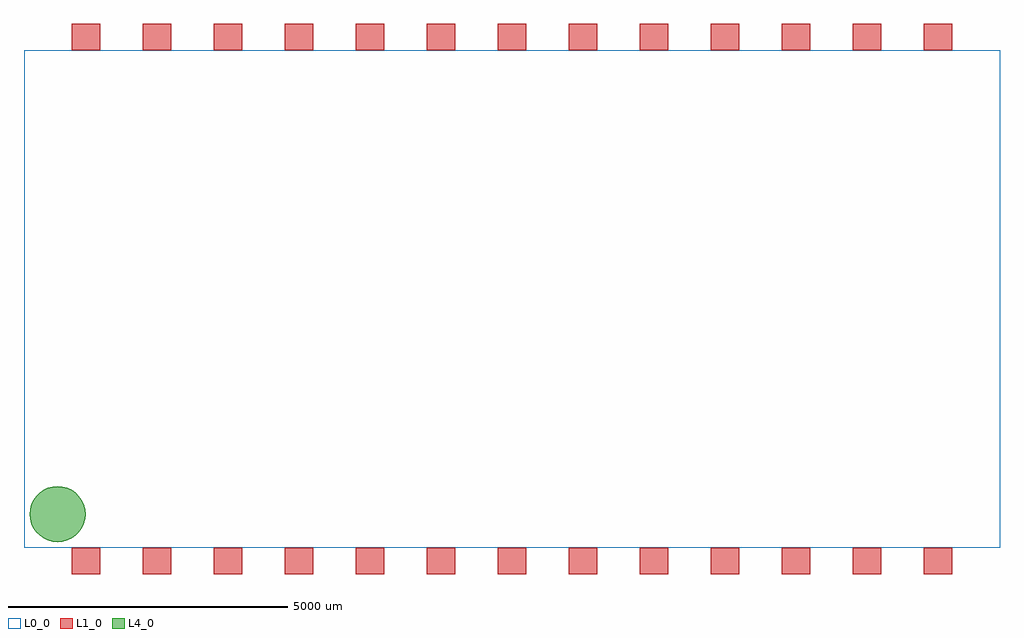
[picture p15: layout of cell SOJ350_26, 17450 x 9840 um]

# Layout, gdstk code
import gdstk
lib = gdstk.Library(unit=1e-6, precision=1e-09)
def R(c, l, rs):  # rectangles x0, y0, x1, y1
    for r in rs: c.add(gdstk.rectangle(r[:2], r[2:], *l))
def A(c, l, x, y, w, h, nx, ny, dx, dy):  # array of equal rectangles
    R(c, l, [(x+i*dx, y+j*dy, x+i*dx+w, y+j*dy+h) for i in range(nx) for j in range(ny)])
def P(c, l, *ps):  # polygons
    for p in ps: c.add(gdstk.Polygon(p, *l))
L0_0 = (0, 0)
L1_0 = (1, 0)
L4_0 = (4, 0)
L99_1 = (99, 1)
L99_2 = (99, 2)
L99_3 = (99, 3)
L99_4 = (99, 4)
L99_5 = (99, 5)
L99_6 = (99, 6)
L99_7 = (99, 7)
L99_8 = (99, 8)
L99_9 = (99, 9)
L99_10 = (99, 10)
L99_11 = (99, 11)
L99_12 = (99, 12)
L99_13 = (99, 13)
L99_14 = (99, 14)
L99_15 = (99, 15)
L99_16 = (99, 16)
L99_17 = (99, 17)
L99_18 = (99, 18)
L99_19 = (99, 19)
L99_20 = (99, 20)
L99_21 = (99, 21)
L99_22 = (99, 22)
L99_23 = (99, 23)
L99_24 = (99, 24)
L99_25 = (99, 25)
L99_26 = (99, 26)

soj350_26 = lib.new_cell('SOJ350_26')
R(soj350_26, L0_0, [(0,0,17450,8890)])
A(soj350_26, L1_0, 850, -475, 510, 475, 13, 2, 1270, 9365)
P(soj350_26, L4_0, [(1100,600),(1092.404,513.176),(1069.846,428.99),(1033.013,350),(983.022,278.606),(921.394,216.978),(850,166.987),(771.01,130.154),(686.824,107.596),(600,100),(513.176,107.596),(428.99,130.154),(350,166.987),(278.606,216.978),(216.978,278.606),(166.987,350),(130.154,428.99),(107.596,513.176),(100,600),(107.596,686.824),(130.154,771.01),(166.987,850),(216.978,921.394),(278.606,983.022),(350,1033.013),(428.99,1069.846),(513.176,1092.404),(600,1100),(686.824,1092.404),(771.01,1069.846),(850,1033.013),(921.394,983.022),(983.022,921.394),(1033.013,850),(1069.846,771.01),(1092.404,686.824)])
soj350_26.add(gdstk.FlexPath([(1360,0),(850,0)], 0, ends="round", simple_path=True, layer=99, datatype=1))  # L99_1
soj350_26.add(gdstk.FlexPath([(2630,0),(2120,0)], 0, ends="round", simple_path=True, layer=99, datatype=2))  # L99_2
soj350_26.add(gdstk.FlexPath([(3900,0),(3390,0)], 0, ends="round", simple_path=True, layer=99, datatype=3))  # L99_3
soj350_26.add(gdstk.FlexPath([(5170,0),(4660,0)], 0, ends="round", simple_path=True, layer=99, datatype=4))  # L99_4
soj350_26.add(gdstk.FlexPath([(6440,0),(5930,0)], 0, ends="round", simple_path=True, layer=99, datatype=5))  # L99_5
soj350_26.add(gdstk.FlexPath([(7710,0),(7200,0)], 0, ends="round", simple_path=True, layer=99, datatype=6))  # L99_6
soj350_26.add(gdstk.FlexPath([(8980,0),(8470,0)], 0, ends="round", simple_path=True, layer=99, datatype=7))  # L99_7
soj350_26.add(gdstk.FlexPath([(10250,0),(9740,0)], 0, ends="round", simple_path=True, layer=99, datatype=8))  # L99_8
soj350_26.add(gdstk.FlexPath([(11520,0),(11010,0)], 0, ends="round", simple_path=True, layer=99, datatype=9))  # L99_9
soj350_26.add(gdstk.FlexPath([(12790,0),(12280,0)], 0, ends="round", simple_path=True, layer=99, datatype=10))  # L99_10
soj350_26.add(gdstk.FlexPath([(14060,0),(13550,0)], 0, ends="round", simple_path=True, layer=99, datatype=11))  # L99_11
soj350_26.add(gdstk.FlexPath([(15330,0),(14820,0)], 0, ends="round", simple_path=True, layer=99, datatype=12))  # L99_12
soj350_26.add(gdstk.FlexPath([(16600,0),(16090,0)], 0, ends="round", simple_path=True, layer=99, datatype=13))  # L99_13
soj350_26.add(gdstk.FlexPath([(850,8890),(1360,8890)], 0, ends="round", simple_path=True, layer=99, datatype=26))  # L99_26
soj350_26.add(gdstk.FlexPath([(2120,8890),(2630,8890)], 0, ends="round", simple_path=True, layer=99, datatype=25))  # L99_25
soj350_26.add(gdstk.FlexPath([(3390,8890),(3900,8890)], 0, ends="round", simple_path=True, layer=99, datatype=24))  # L99_24
soj350_26.add(gdstk.FlexPath([(4660,8890),(5170,8890)], 0, ends="round", simple_path=True, layer=99, datatype=23))  # L99_23
soj350_26.add(gdstk.FlexPath([(5930,8890),(6440,8890)], 0, ends="round", simple_path=True, layer=99, datatype=22))  # L99_22
soj350_26.add(gdstk.FlexPath([(7200,8890),(7710,8890)], 0, ends="round", simple_path=True, layer=99, datatype=21))  # L99_21
soj350_26.add(gdstk.FlexPath([(8470,8890),(8980,8890)], 0, ends="round", simple_path=True, layer=99, datatype=20))  # L99_20
soj350_26.add(gdstk.FlexPath([(9740,8890),(10250,8890)], 0, ends="round", simple_path=True, layer=99, datatype=19))  # L99_19
soj350_26.add(gdstk.FlexPath([(11010,8890),(11520,8890)], 0, ends="round", simple_path=True, layer=99, datatype=18))  # L99_18
soj350_26.add(gdstk.FlexPath([(12280,8890),(12790,8890)], 0, ends="round", simple_path=True, layer=99, datatype=17))  # L99_17
soj350_26.add(gdstk.FlexPath([(13550,8890),(14060,8890)], 0, ends="round", simple_path=True, layer=99, datatype=16))  # L99_16
soj350_26.add(gdstk.FlexPath([(14820,8890),(15330,8890)], 0, ends="round", simple_path=True, layer=99, datatype=15))  # L99_15
soj350_26.add(gdstk.FlexPath([(16090,8890),(16600,8890)], 0, ends="round", simple_path=True, layer=99, datatype=14))  # L99_14

lib.write_gds('SOJ350_26.gds')
